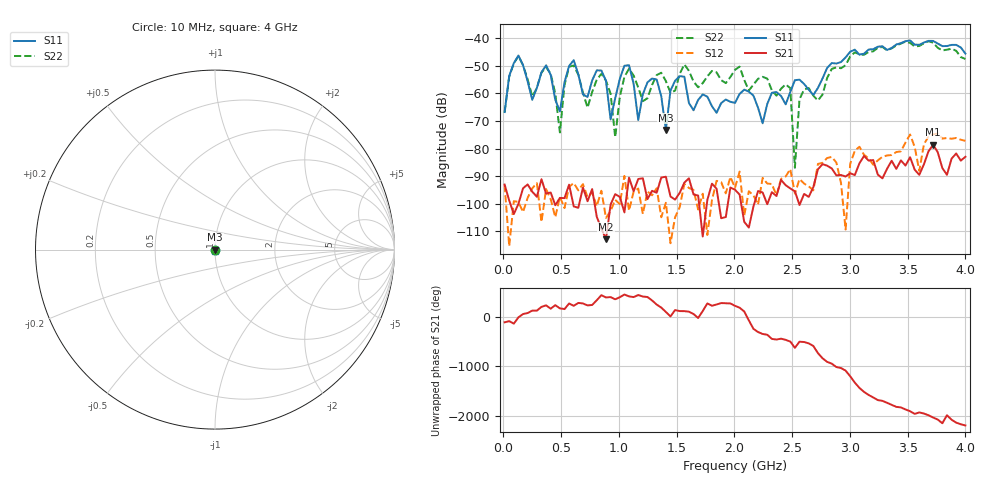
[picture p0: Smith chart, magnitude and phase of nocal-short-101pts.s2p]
! PocketVna 1.81  pocketvna.com
! Live measurements ((Reflection-S11, Transmission-S21, Transmission-S12, Reflection-S22) Linear 10000000-4000000000/101 non-calibrated)
# GHz S MA R 50
! GHz  |S11|  <S11  |S21|  <S21  |S12|  <S12  |S22|  <S22
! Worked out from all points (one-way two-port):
!   101 points, 10 MHz to 4 GHz, reference 50 ohm
!   highest |S21| = -78.64 dB at 3.721 GHz (marker M1); lowest = -112.8 dB at 887.8 MHz (marker M2)
!   lowest |S11| = -73.3 dB at 1.407 GHz (marker M3), VSWR 1.00, Z = 50 + j0.0192 ohm
!   |S11| at or under -10 dB: start of sweep to end of sweep
!   |S22| runs from -87.0 to -41.1 dB; largest |S21 - S12| = 0.00024
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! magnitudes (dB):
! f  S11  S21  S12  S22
! 10 MHz  -66.8  -93.0  -93.2  -66.9
! 129.7 MHz  -46.3  -100.0  -99.3  -46.5
! 249.4 MHz  -62.4  -95.6  -94.4  -61.2
! 409 MHz  -53.3  -95.9  -98.3  -53.0
! 488.8 MHz  -66.6  -97.9  -97.5  -74.2
! 568.6 MHz  -50.1  -93.1  -93.9  -50.4
! 688.3 MHz  -60.4  -94.1  -92.9  -59.7
! 887.8 MHz  -55.5  -112.8  -105.1  -55.4
! 967.6 MHz  -61.8  -96.5  -98.5  -75.9
! 1.087 GHz  -49.8  -90.5  -102.4  -51.1
! 1.167 GHz  -69.7  -91.0  -94.5  -57.9
! 1.367 GHz  -61.1  -90.5  -104.9  -52.6
! 1.407 GHz  -73.3  -90.2  -99.6  -55.6
! 1.526 GHz  -53.8  -96.0  -101.2  -53.0
! 2.005 GHz  -63.5  -94.9  -94.2  -51.5
! 2.484 GHz  -59.5  -94.4  -87.4  -58.1
! 2.524 GHz  -55.2  -95.5  -96.3  -87.0
! 2.564 GHz  -55.1  -100.4  -91.0  -62.1
! 2.683 GHz  -60.6  -94.0  -95.1  -60.9
! 3.362 GHz  -43.6  -84.4  -82.3  -43.7
! 3.721 GHz  -41.1  -78.6  -74.9  -41.7
! 4 GHz  -45.6  -83.0  -77.2  -47.6
